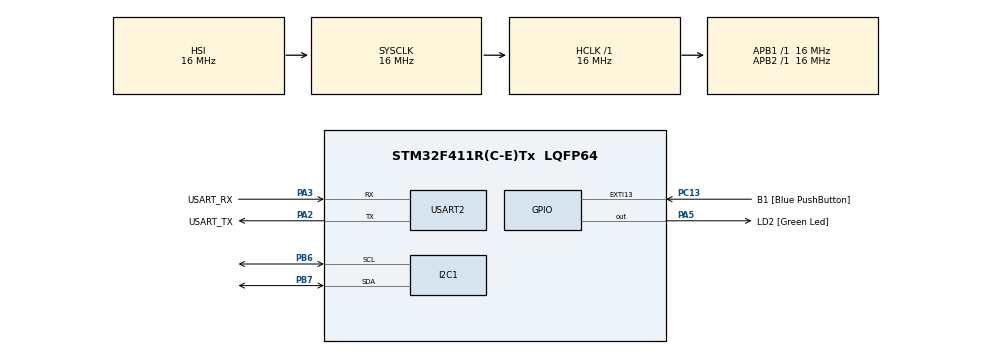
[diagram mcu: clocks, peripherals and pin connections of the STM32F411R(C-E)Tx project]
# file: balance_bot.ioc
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Mcu.Family=STM32F4
Mcu.Name=STM32F411R(C-E)Tx
Mcu.Package=LQFP64
NVIC.PriorityGroup=NVIC_PRIORITYGROUP_0
PA13.GPIO_Label=TMS
PA13.Mode=Serial_Wire
PA13.Signal=SYS_JTMS-SWDIO
PA14.GPIO_Label=TCK
PA14.Mode=Serial_Wire
PA14.Signal=SYS_JTCK-SWCLK
PA2.GPIO_Label=USART_TX
PA2.Mode=Asynchronous
PA2.Signal=USART2_TX
PA3.GPIO_Label=USART_RX
PA3.Mode=Asynchronous
PA3.Signal=USART2_RX
PA5.GPIO_Label=LD2 [Green Led]
PA5.Signal=GPIO_Output
PB3.GPIO_Label=SWO
PB3.Signal=SYS_JTDO-SWO
PB6.Mode=I2C
PB6.Signal=I2C1_SCL
PB7.Mode=I2C
PB7.Signal=I2C1_SDA
PC13-ANTI_TAMP.GPIO_Label=B1 [Blue PushButton]
PC13-ANTI_TAMP.GPIO_ModeDefaultEXTI=GPIO_MODE_IT_FALLING
PC13-ANTI_TAMP.Signal=GPXTI13
ProjectManager.HeapSize=0x200
ProjectManager.StackSize=0x400
ProjectManager.TargetToolchain=STM32CubeIDE
RCC.48MHZClocksFreq_Value=84000000
RCC.AHBFreq_Value=16000000
RCC.APB1Freq_Value=16000000
RCC.APB1TimFreq_Value=16000000
RCC.APB2Freq_Value=16000000
RCC.APB2TimFreq_Value=16000000
RCC.CortexFreq_Value=16000000
RCC.FLatency-AdvancedSettings=FLASH_LATENCY_0
RCC.HCLKFreq_Value=16000000
RCC.HSE_VALUE=8000000
RCC.HSI_VALUE=16000000
RCC.LSE_VALUE=32768
RCC.PLLN=336
RCC.PLLP=RCC_PLLP_DIV4
RCC.SYSCLKFreq_VALUE=16000000
RCC.VCOOutputFreq_Value=336000000
USART2.VirtualMode=VM_ASYNC
board=NUCLEO-F411RE

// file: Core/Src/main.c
/* USER CODE BEGIN Header */
/**
  ******************************************************************************
  * @file           : main.c
  * @brief          : Main program body
  ******************************************************************************
  * @attention
  *
  * Copyright (c) 2026 STMicroelectronics.
  * All rights reserved.
  *
  * This software is licensed under terms that can be found in the LICENSE file
  * in the root directory of this software component.
  * If no LICENSE file comes with this software, it is provided AS-IS.
  *
  ******************************************************************************
  */
/* USER CODE END Header */
#include "main.h"

/* USER CODE BEGIN Includes */
#include "stdio.h"
#include "MPU6050.h"
/* USER CODE END Includes */

/* USER CODE BEGIN PD */
#define MPU6050_ADDR 0xD0
#define CONFIG 0x1A
/* USER CODE END PD */

I2C_HandleTypeDef hi2c1;

UART_HandleTypeDef huart2;

/* USER CODE BEGIN PV */
float ax_raw = 0.0f, ay_raw = 0.0f, az_raw = 0.0f;
float* Ax_val = &ax_raw;
float* Ay_val = &ay_raw;
float* Az_val = &az_raw;
float gx_raw = 0.0f, gy_raw = 0.0f, gz_raw = 0.0f;
float* Gx_val = &gx_raw;
float* Gy_val = &gy_raw;
float* Gz_val = &gz_raw;
uint8_t low_pass_filt_value = 6;
char tx_buff[64];
/* USER CODE END PV */

void SystemClock_Config(void);
static void MX_GPIO_Init(void);
static void MX_USART2_UART_Init(void);
static void MX_I2C1_Init(void);

int main(void)
{

  /* MCU Configuration--------------------------------------------------------*/

  /* Reset of all peripherals, Initializes the Flash interface and the Systick. */
  HAL_Init();

  /* Configure the system clock */
  SystemClock_Config();

  /* Initialize all configured peripherals */
  MX_GPIO_Init();
  MX_USART2_UART_Init();
  MX_I2C1_Init();
  /* USER CODE BEGIN 2 */
  MPU6050_init();
  HAL_I2C_Mem_Write(&hi2c1, MPU6050_ADDR, CONFIG, 1, &low_pass_filt_value, 1, 1000);
  /* USER CODE END 2 */

  /* Infinite loop */
  while (1)
  {

    /* USER CODE BEGIN 3 */
	MPU6050_Read_Accel(Ax_val, Ay_val, Az_val);
	MPU6050_Read_Gyro(Gx_val, Gy_val, Gz_val);

	//int len = snprintf(tx_buff, sizeof(tx_buff), "Ax: %.4f / Ay: %.4f / Az: %.4f\r\n", *Ax_val, *Ay_val, *Az_val);
	int len = snprintf(tx_buff, sizeof(tx_buff), "Gx: %.4f / Gy: %.4f / Gz: %.4f\r\n", *Gx_val, *Gy_val, *Gz_val);

	HAL_UART_Transmit(&huart2, (uint8_t*)tx_buff, len, 1000);

	HAL_Delay(100);
  }
  /* USER CODE END 3 */
}

void SystemClock_Config(void)
{
  RCC_OscInitTypeDef RCC_OscInitStruct = {0};
  RCC_ClkInitTypeDef RCC_ClkInitStruct = {0};

  /** Configure the main internal regulator output voltage
  */
  __HAL_RCC_PWR_CLK_ENABLE();
  __HAL_PWR_VOLTAGESCALING_CONFIG(PWR_REGULATOR_VOLTAGE_SCALE1);

  /** Initializes the RCC Oscillators according to the specified parameters
  * in the RCC_OscInitTypeDef structure.
  */
  RCC_OscInitStruct.OscillatorType = RCC_OSCILLATORTYPE_HSI;
  RCC_OscInitStruct.HSIState = RCC_HSI_ON;
  RCC_OscInitStruct.HSICalibrationValue = RCC_HSICALIBRATION_DEFAULT;
  RCC_OscInitStruct.PLL.PLLState = RCC_PLL_NONE;
  if (HAL_RCC_OscConfig(&RCC_OscInitStruct) != HAL_OK)
  {
    Error_Handler();
  }

  /** Initializes the CPU, AHB and APB buses clocks
  */
  RCC_ClkInitStruct.ClockType = RCC_CLOCKTYPE_HCLK|RCC_CLOCKTYPE_SYSCLK
                              |RCC_CLOCKTYPE_PCLK1|RCC_CLOCKTYPE_PCLK2;
  RCC_ClkInitStruct.SYSCLKSource = RCC_SYSCLKSOURCE_HSI;
  RCC_ClkInitStruct.AHBCLKDivider = RCC_SYSCLK_DIV1;
  RCC_ClkInitStruct.APB1CLKDivider = RCC_HCLK_DIV1;
  RCC_ClkInitStruct.APB2CLKDivider = RCC_HCLK_DIV1;

  if (HAL_RCC_ClockConfig(&RCC_ClkInitStruct, FLASH_LATENCY_0) != HAL_OK)
  {
    Error_Handler();
  }
}

static void MX_I2C1_Init(void)
{

  hi2c1.Instance = I2C1;
  hi2c1.Init.ClockSpeed = 100000;
  hi2c1.Init.DutyCycle = I2C_DUTYCYCLE_2;
  hi2c1.Init.OwnAddress1 = 0;
  hi2c1.Init.AddressingMode = I2C_ADDRESSINGMODE_7BIT;
  hi2c1.Init.DualAddressMode = I2C_DUALADDRESS_DISABLE;
  hi2c1.Init.OwnAddress2 = 0;
  hi2c1.Init.GeneralCallMode = I2C_GENERALCALL_DISABLE;
  hi2c1.Init.NoStretchMode = I2C_NOSTRETCH_DISABLE;
  if (HAL_I2C_Init(&hi2c1) != HAL_OK)
  {
    Error_Handler();
  }

}

static void MX_USART2_UART_Init(void)
{

  huart2.Instance = USART2;
  huart2.Init.BaudRate = 115200;
  huart2.Init.WordLength = UART_WORDLENGTH_8B;
  huart2.Init.StopBits = UART_STOPBITS_1;
  huart2.Init.Parity = UART_PARITY_NONE;
  huart2.Init.Mode = UART_MODE_TX_RX;
  huart2.Init.HwFlowCtl = UART_HWCONTROL_NONE;
  huart2.Init.OverSampling = UART_OVERSAMPLING_16;
  if (HAL_UART_Init(&huart2) != HAL_OK)
  {
    Error_Handler();
  }

}

static void MX_GPIO_Init(void)
{
  GPIO_InitTypeDef GPIO_InitStruct = {0};

  /* GPIO Ports Clock Enable */
  __HAL_RCC_GPIOC_CLK_ENABLE();
  __HAL_RCC_GPIOA_CLK_ENABLE();
  __HAL_RCC_GPIOB_CLK_ENABLE();

  /*Configure GPIO pin Output Level */
  HAL_GPIO_WritePin(LD2_GPIO_Port, LD2_Pin, GPIO_PIN_RESET);

  /*Configure GPIO pin : B1_Pin */
  GPIO_InitStruct.Pin = B1_Pin;
  GPIO_InitStruct.Mode = GPIO_MODE_IT_FALLING;
  GPIO_InitStruct.Pull = GPIO_NOPULL;
  HAL_GPIO_Init(B1_GPIO_Port, &GPIO_InitStruct);

  /*Configure GPIO pin : LD2_Pin */
  GPIO_InitStruct.Pin = LD2_Pin;
  GPIO_InitStruct.Mode = GPIO_MODE_OUTPUT_PP;
  GPIO_InitStruct.Pull = GPIO_NOPULL;
  GPIO_InitStruct.Speed = GPIO_SPEED_FREQ_LOW;
  HAL_GPIO_Init(LD2_GPIO_Port, &GPIO_InitStruct);

}

void Error_Handler(void)
{
  __disable_irq();
  while (1)
  {
  }
}
